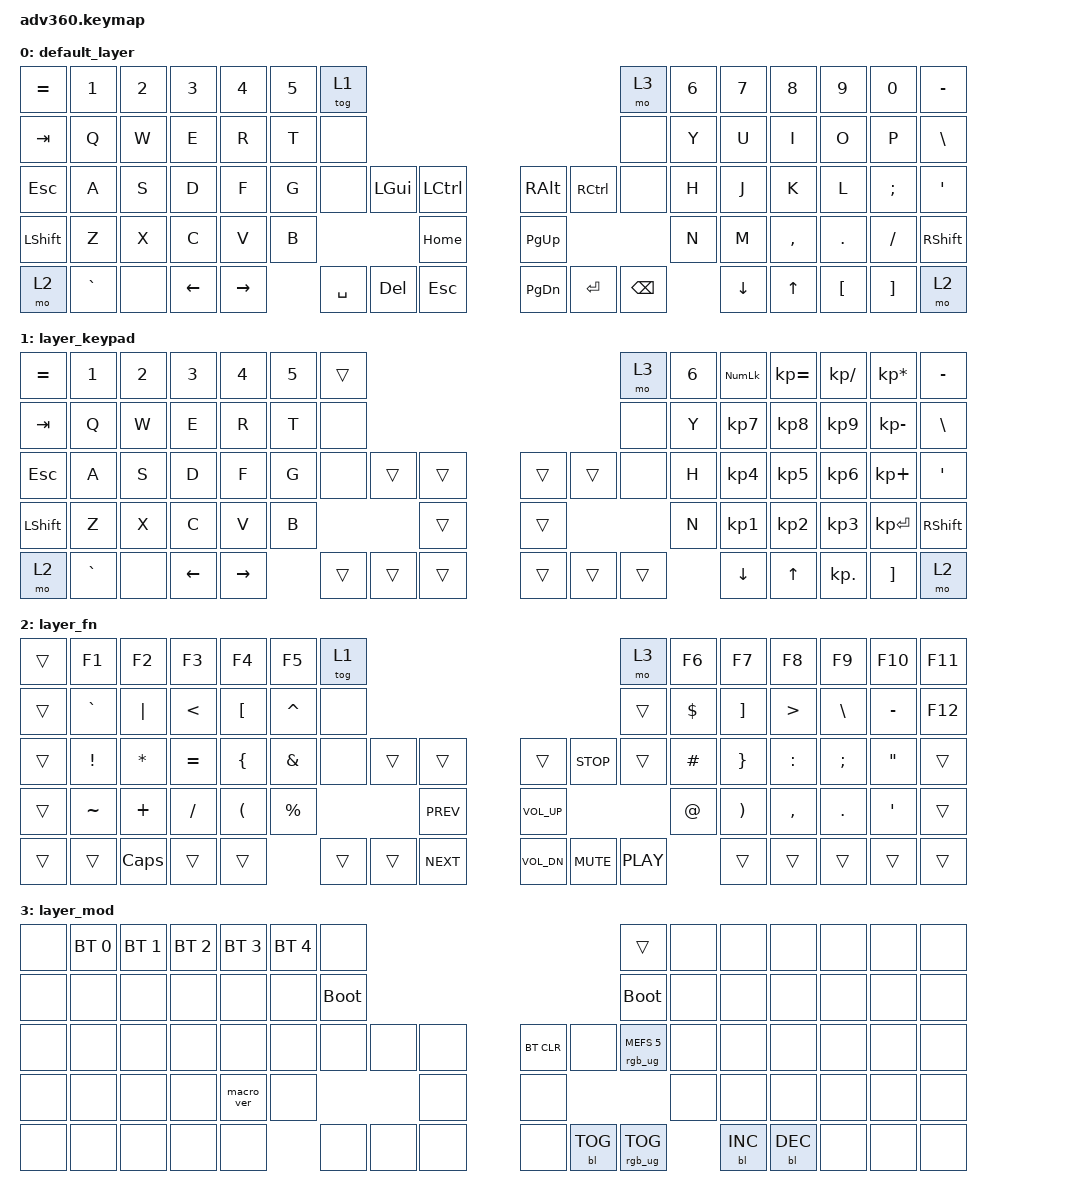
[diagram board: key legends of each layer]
/*
 * Copyright (c) 2020 The ZMK Contributors
 *
 * SPDX-License-Identifier: MIT
 */
/* THIS FILE WAS GENERATED!
 *
 * This file was generated automatically. You may or may not want to
 * edit it directly.
 */

#include <behaviors.dtsi>
#include <dt-bindings/zmk/backlight.h>
#include <dt-bindings/zmk/bt.h>
#include <dt-bindings/zmk/keys.h>
#include <dt-bindings/zmk/rgb.h>

/ {
    behaviors {
        #include "macros.dtsi"
    #include "version.dtsi"

        hm: homerow_mods {
            compatible = "zmk,behavior-hold-tap";
            label = "HOMEROW_MODS";
            #binding-cells = <2>;
            tapping-term-ms = <200>;
            quick_tap_ms = <175>;
            flavor = "tap-preferred";
            bindings = <&kp>, <&kp>;
        };
    };

    keymap {
        compatible = "zmk,keymap";

        default_layer {
            bindings = <
&kp EQUAL  &kp N1     &kp N2  &kp N3    &kp N4     &kp N5  &tog 1                                                                   &mo 3          &kp N6  &kp N7    &kp N8     &kp N9    &kp N0         &kp MINUS
&kp TAB    &kp Q      &kp W   &kp E     &kp R      &kp T   &none                                                                    &none          &kp Y   &kp U     &kp I      &kp O     &kp P          &kp BSLH
&kp ESC    &kp A      &kp S   &kp D     &kp F      &kp G   &none      &kp LEFT_GUI  &kp LEFT_CONTROL      &kp RIGHT_ALT  &kp RCTRL  &none          &kp H   &kp J     &kp K      &kp L     &kp SEMICOLON  &kp SQT
&kp LSHFT  &kp Z      &kp X   &kp C     &kp V      &kp B                            &kp HOME              &kp PAGE_UP                              &kp N   &kp M     &kp COMMA  &kp DOT   &kp FSLH       &kp RSHFT
&mo 2      &kp GRAVE  &none   &kp LEFT  &kp RIGHT          &kp SPACE  &kp DELETE    &kp ESCAPE            &kp PAGE_DOWN  &kp ENTER  &kp BACKSPACE          &kp DOWN  &kp UP     &kp LBKT  &kp RBKT       &mo 2
            >;
        };

        layer_keypad {
            bindings = <
&kp EQUAL  &kp N1     &kp N2  &kp N3    &kp N4     &kp N5  &trans                                      &mo 3   &kp N6  &kp KP_NUM  &kp KP_EQUAL  &kp KP_DIVIDE  &kp KP_MULTIPLY  &kp MINUS
&kp TAB    &kp Q      &kp W   &kp E     &kp R      &kp T   &none                                       &none   &kp Y   &kp KP_N7   &kp KP_N8     &kp KP_N9      &kp KP_MINUS     &kp BSLH
&kp ESC    &kp A      &kp S   &kp D     &kp F      &kp G   &none   &trans  &trans      &trans  &trans  &none   &kp H   &kp KP_N4   &kp KP_N5     &kp KP_N6      &kp KP_PLUS      &kp SQT
&kp LSHFT  &kp Z      &kp X   &kp C     &kp V      &kp B                   &trans      &trans                  &kp N   &kp KP_N1   &kp KP_N2     &kp KP_N3      &kp KP_ENTER     &kp RSHFT
&mo 2      &kp GRAVE  &none   &kp LEFT  &kp RIGHT          &trans  &trans  &trans      &trans  &trans  &trans          &kp DOWN    &kp UP        &kp KP_DOT     &kp RBKT         &mo 2
            >;
        };

        layer_fn {
            bindings = <
&trans  &kp F1     &kp F2        &kp F3         &kp F4                &kp F5         &tog 1                                                    &mo 3       &kp F6       &kp F7                 &kp F8            &kp F9         &kp F10            &kp F11
&trans  &kp GRAVE  &kp PIPE      &kp LESS_THAN  &kp LEFT_BRACKET      &kp CARET      &none                                                     &trans      &kp DOLLAR   &kp RIGHT_BRACKET      &kp GREATER_THAN  &kp BACKSLASH  &kp MINUS          &kp F12
&trans  &kp EXCL   &kp ASTERISK  &kp EQUAL      &kp LEFT_BRACE        &kp AMPERSAND  &none   &trans  &trans          &trans        &kp C_STOP  &trans      &kp HASH     &kp RIGHT_BRACE        &kp COLON         &kp SEMICOLON  &kp DOUBLE_QUOTES  &trans
&trans  &kp TILDE  &kp PLUS      &kp SLASH      &kp LEFT_PARENTHESIS  &kp PERCENT                    &kp C_PREV      &kp C_VOL_UP                          &kp AT_SIGN  &kp RIGHT_PARENTHESIS  &kp COMMA         &kp DOT        &kp SINGLE_QUOTE   &trans
&trans  &trans     &kp CAPSLOCK  &trans         &trans                               &trans  &trans  &kp C_NEXT      &kp C_VOL_DN  &kp C_MUTE  &kp C_PLAY               &trans                 &trans            &trans         &trans             &trans
            >;
        };

        layer_mod {
            bindings = <
&none  &bt BT_SEL 0  &bt BT_SEL 1  &bt BT_SEL 2  &bt BT_SEL 3  &bt BT_SEL 4  &none                                                  &trans                  &none  &none       &none       &none  &none  &none
&none  &none         &none         &none         &none         &none         &bootloader                                            &bootloader             &none  &none       &none       &none  &none  &none
&none  &none         &none         &none         &none         &none         &none        &none  &none      &bt BT_CLR  &none       &rgb_ug RGB_MEFS_CMD 5  &none  &none       &none       &none  &none  &none
&none  &none         &none         &none         &macro_ver    &none                             &none      &none                                           &none  &none       &none       &none  &none  &none
&none  &none         &none         &none         &none                       &none        &none  &none      &none       &bl BL_TOG  &rgb_ug RGB_TOG                &bl BL_INC  &bl BL_DEC  &none  &none  &none
            >;
        };
    };
};
